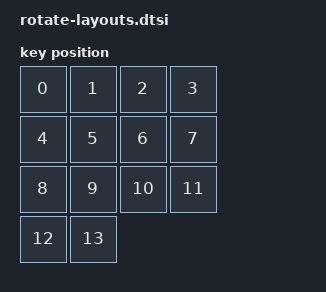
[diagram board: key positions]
// Rotate 键盘物理布局
// 14个按键 + EC11编码器
// 布局:
// ┌────┬────┬────┬────┐
// │  k1│  k2│  k3│  k4│  第1行 4键
// ├────┼────┼────┼────┤
// │  k5│  k6│  k7│  k8│  第2行 4键
// ├────┼────┼────┼────┤
// │  k9│ k10│ k11│ k12│  第3行 4键
// ├────┼────┤         │
// │ k13│ k14│ 编码器   │  第4行 2键 + 编码器
// └────┴────┴─────────┘

#include <physical_layouts.dtsi>

/ {
    default_layout: default_layout {
        compatible = "zmk,physical-layout";
        display-name = "Default Layout";
        transform = <&default_transform>;
        kscan = <&kscan0>;

        // 按键物理属性: w(宽) h(高) x(横坐标) y(纵坐标) rot(旋转) rx ry(旋转中心)
        // 每个按键 100x100 单位，4列间距100，行间距100
        keys  //                     w   h    x    y     rot    rx    ry
            // 第1行 (4键)
            = <&key_physical_attrs 100 100    0    0       0     0     0>
            , <&key_physical_attrs 100 100  100    0       0   100     0>
            , <&key_physical_attrs 100 100  200    0       0   200     0>
            , <&key_physical_attrs 100 100  300    0       0   300     0>
            // 第2行 (4键)
            , <&key_physical_attrs 100 100    0  100       0     0   100>
            , <&key_physical_attrs 100 100  100  100       0   100   100>
            , <&key_physical_attrs 100 100  200  100       0   200   100>
            , <&key_physical_attrs 100 100  300  100       0   300   100>
            // 第3行 (4键)
            , <&key_physical_attrs 100 100    0  200       0     0   200>
            , <&key_physical_attrs 100 100  100  200       0   100   200>
            , <&key_physical_attrs 100 100  200  200       0   200   200>
            , <&key_physical_attrs 100 100  300  200       0   300   200>
            // 第4行 (2键)
            , <&key_physical_attrs 100 100    0  300       0     0   300>
            , <&key_physical_attrs 100 100  100  300       0   100   300>
            ;
    };
};
